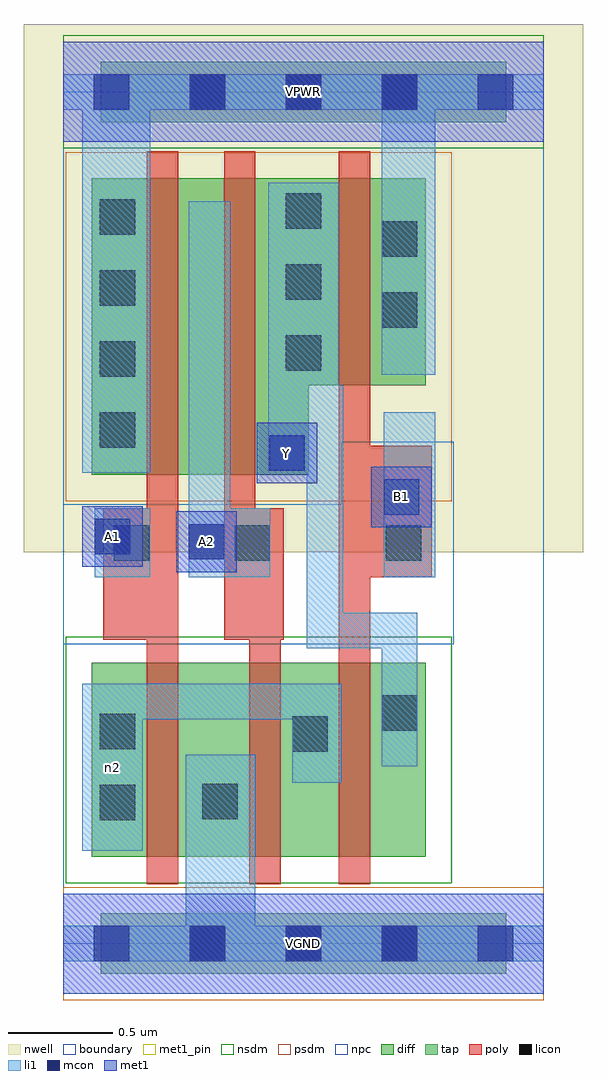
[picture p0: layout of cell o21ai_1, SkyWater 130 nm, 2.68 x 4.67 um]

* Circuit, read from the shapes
.subckt o21ai_1 A1 A2 B1 VGND VPWR Y n2
XM1 VGND A1 n2 VGND sky130_fd_pr__nfet_01v8 w=0.93 l=0.15
XM2 n2 A2 VGND VGND sky130_fd_pr__nfet_01v8 w=0.93 l=0.15
XM3 Y B1 n2 VGND sky130_fd_pr__nfet_01v8 w=0.93 l=0.15
XM4 n1 A1 VPWR VPWR sky130_fd_pr__pfet_01v8 w=1.42 l=0.15
XM5 Y A2 n1 VPWR sky130_fd_pr__pfet_01v8 w=1.42 l=0.15
XM6 VPWR B1 Y VPWR sky130_fd_pr__pfet_01v8 w=0.99 l=0.15
.ends

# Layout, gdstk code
import gdstk
lib = gdstk.Library(unit=1e-6, precision=1e-09)
def R(c, l, rs):  # rectangles x0, y0, x1, y1
    for r in rs: c.add(gdstk.rectangle(r[:2], r[2:], *l))
def A(c, l, x, y, w, h, nx, ny, dx, dy):  # array of equal rectangles
    R(c, l, [(x+i*dx, y+j*dy, x+i*dx+w, y+j*dy+h) for i in range(nx) for j in range(ny)])
nwell = (64, 20)
diff = (65, 20)
tap = (65, 44)
poly = (66, 20)
licon = (66, 44)
li1 = (67, 20)
mcon = (67, 44)
met1_pin = (68, 16)
met1 = (68, 20)
nsdm = (93, 44)
psdm = (94, 20)
npc = (95, 20)
boundary = (235, 4)

o21ai_1 = lib.new_cell('o21ai_1')
R(o21ai_1, nwell, [(-0.19,1.875,2.49,4.405), (0,1.875,2.3,4.405)])
R(o21ai_1, diff, [(0.135,0.415,1.735,1.345), (0.135,2.245,1.175,3.665), (0.135,2.675,1.735,3.665)])
R(o21ai_1, tap, [(0.18,-0.145,2.12,0.145), (0.18,3.935,2.12,4.225)])
R(o21ai_1, poly, [(0.4,0.285,0.55,3.795), (0.89,0.285,1.04,2.085), (1.32,0.285,1.47,3.795), (0.19,1.455,0.55,2.085), (0.77,1.455,0.92,3.795), (0.77,1.455,1.055,2.085), (1.32,1.755,1.765,2.385)])
A(o21ai_1, licon, 0.605, -0.085, 0.17, 0.17, 3, 2, 0.46, 4.08)
A(o21ai_1, licon, 0.175, 2.375, 0.17, 0.17, 1, 4, 0, 0.34)
A(o21ai_1, licon, 1.065, 2.745, 0.17, 0.17, 1, 3, 0, 0.34)
R(o21ai_1, licon, [(0.175,0.59,0.345,0.76), (0.665,0.595,0.835,0.765), (1.095,0.92,1.265,1.09), (0.175,0.93,0.345,1.1), (1.525,1.02,1.695,1.19), (0.24,1.835,0.41,2.005), (0.82,1.835,0.99,2.005), (1.545,1.835,1.715,2.005), (1.525,2.95,1.695,3.12), (1.525,3.29,1.695,3.46)])
R(o21ai_1, li1, [(0,-0.085,2.3,0.085), (0.585,-0.085,0.92,0.905), (0.09,0.445,0.38,1.245), (1.095,0.77,1.33,1.245), (1.525,0.85,1.695,1.585), (0.09,1.075,1.33,1.245), (1.165,1.415,1.34,2.675), (1.165,1.415,1.695,1.585), (0.15,1.755,0.415,2.085), (0.6,1.755,0.8,3.555), (0.6,1.755,0.99,2.085), (1.535,1.755,1.78,2.545), (0.09,2.255,0.415,4.165), (0.98,2.265,1.32,3.645), (1.525,2.725,1.78,4.165), (0,3.995,2.3,4.165)])
A(o21ai_1, mcon, 0.145, -0.085, 0.17, 0.17, 5, 2, 0.46, 4.08)
R(o21ai_1, mcon, [(0.6,1.84,0.77,2.01), (0.15,1.865,0.32,2.035), (1.535,2.055,1.705,2.225), (0.985,2.265,1.155,2.435)])
R(o21ai_1, met1_pin, [(0,-0.24,2.3,0.24), (0.54,1.78,0.83,2.07), (0.09,1.805,0.38,2.095), (1.475,1.995,1.765,2.285), (0.925,2.205,1.215,2.495), (0,3.84,2.3,4.32)])
R(o21ai_1, met1, [(0,-0.24,2.3,0.24), (0.54,1.78,0.83,2.07), (0.09,1.805,0.38,2.095), (1.475,1.995,1.765,2.285), (0.925,2.205,1.215,2.495), (0,3.84,2.3,4.32)])
R(o21ai_1, nsdm, [(0.01,0.29,1.86,1.47), (0,3.81,2.3,4.35)])
R(o21ai_1, psdm, [(0,-0.27,2.3,0.27), (0.01,2.12,1.86,3.79)])
R(o21ai_1, npc, [(0,1.435,1.87,2.105), (1.33,1.435,1.87,2.405)])
R(o21ai_1, boundary, [(0,0,2.3,4.08)])
o21ai_1.add(gdstk.Label('n2', (0.235,0.845), layer=67, texttype=5))
o21ai_1.add(gdstk.Label('A1', (0.235,1.95), layer=68, texttype=5))
o21ai_1.add(gdstk.Label('A2', (0.685,1.925), layer=68, texttype=5))
o21ai_1.add(gdstk.Label('B1', (1.62,2.14), layer=68, texttype=5))
o21ai_1.add(gdstk.Label('Y', (1.07,2.35), layer=68, texttype=5))
o21ai_1.add(gdstk.Label('VPWR', (1.15,4.08), layer=68, texttype=5))
o21ai_1.add(gdstk.Label('VGND', (1.15,0), layer=68, texttype=5))
o21ai_1.add(gdstk.Label('A1', (0.235,1.95), layer=68, texttype=16))
o21ai_1.add(gdstk.Label('A2', (0.685,1.925), layer=68, texttype=16))
o21ai_1.add(gdstk.Label('B1', (1.62,2.14), layer=68, texttype=16))
o21ai_1.add(gdstk.Label('Y', (1.07,2.35), layer=68, texttype=16))
o21ai_1.add(gdstk.Label('VPWR', (1.15,4.08), layer=68, texttype=16))
o21ai_1.add(gdstk.Label('VGND', (1.15,0), layer=68, texttype=16))

lib.write_gds('o21ai_1.gds')
